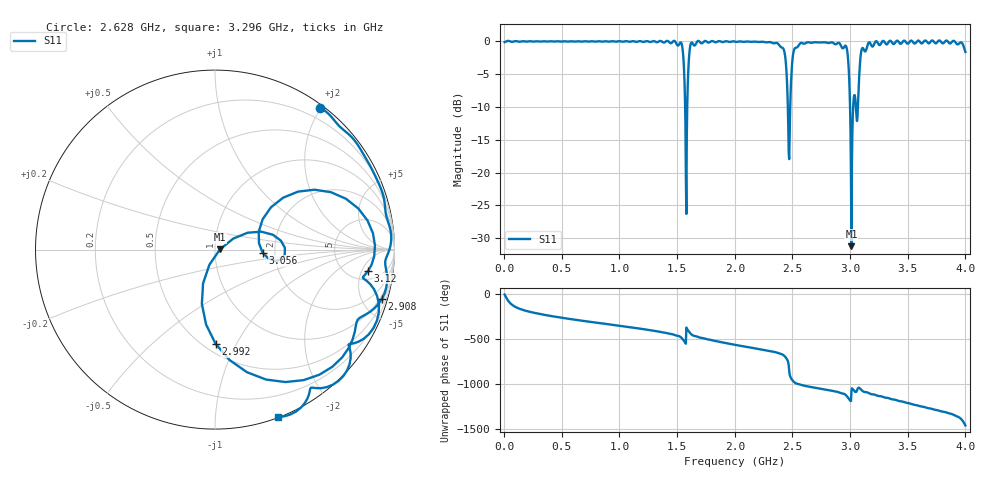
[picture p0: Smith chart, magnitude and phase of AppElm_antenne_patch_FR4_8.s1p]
! TOUCHSTONE file generated by CST MICROWAVE STUDIO
! Date and time: Tue Jun 14 12:33:50 2022
! Project name: AppElm_antenne_patch_FR4.cst
! Parameters = {L=45; W=58.5; e=0.035; h=1.6; lambda=0.190476; ls=120; w0=2.54; w1=0.93165; ws=120; y0=18; y1=23.8}
! Header version: 2018
! Port assignment regex: !\s*Touchstone port\s*([0-9]+)\s*=\s*(CST MWS port|CST DS port)\s*([0-9]+|Zmin|Zmax)\s*\(\"(.*)\"\)(\s*mode\s*([0-9]+))?.*
! Touchstone port assignment:
! Touchstone port 1 = CST MWS port 1 ("")
# GHz S MA R 50
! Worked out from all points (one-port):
!   1000 points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, 4 MHz to 4 GHz, reference 50 ohm
!   lowest |S11| = -31.2 dB at 3.012 GHz (marker M1), VSWR 1.06, Z = 52.8 + j0.102 ohm
!   |S11| at or under -10 dB: 2.46 GHz to 2.481 GHz (20.75 MHz wide, 0.84 % of centre); 3 GHz to 3.027 GHz (27.12 MHz wide, 0.9 % of centre); 3.051 GHz to 3.068 GHz (17.44 MHz wide, 0.57 % of centre)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
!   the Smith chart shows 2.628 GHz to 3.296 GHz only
!   S11 on the Smith chart (normalised r, x): 2.628 GHz: 0.04, +1.98; 2.908 GHz: 0.74, -6.87; 2.992 GHz: 0.57, -0.83; 3.056 GHz: 1.72, -0.06; 3.12 GHz: 7.32, -6.69; 3.296 GHz: 0.00, -1.45
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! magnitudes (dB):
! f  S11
! 4 MHz  -0.1
! 504 MHz  0.0
! 1.004 GHz  0.0
! 1.504 GHz  -0.6
! 1.544 GHz  -0.7
! 1.564 GHz  -6.1
! 1.58 GHz  -26.3
! 1.592 GHz  -6.8
! 1.612 GHz  -0.9
! 1.628 GHz  -0.2
! 2.004 GHz  0.0
! 2.408 GHz  -0.9
! 2.436 GHz  -2.1
! 2.468 GHz  -17.0
! 2.484 GHz  -8.1
! 2.504 GHz  -2.2
! 2.628 GHz  -0.1
! 2.908 GHz  -0.3
! 2.968 GHz  -0.8
! 2.984 GHz  -3.0
! 2.992 GHz  -5.6
! 3.004 GHz  -14.0
! 3.012 GHz  -31.2
! 3.056 GHz  -11.5
! 3.12 GHz  -1.3
! 3.296 GHz  0.0
! 3.504 GHz  -0.3
! 4 GHz  -1.6
